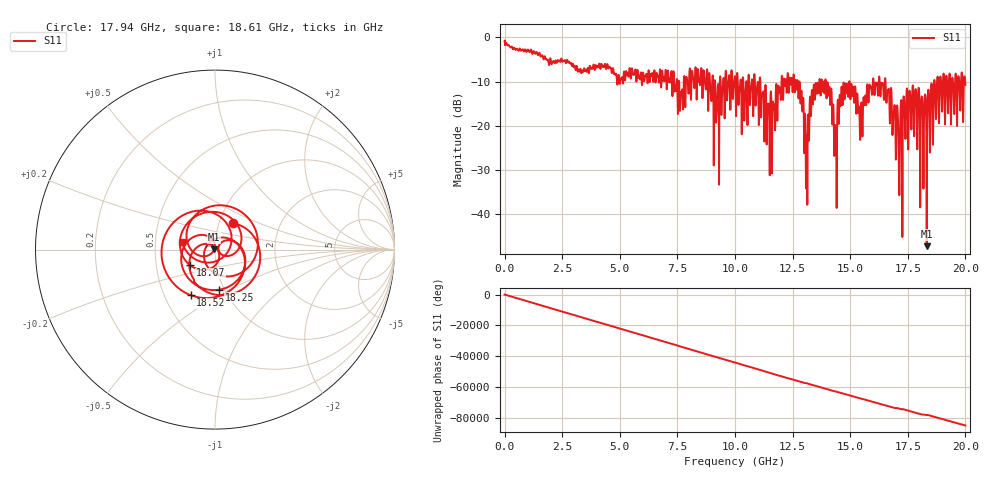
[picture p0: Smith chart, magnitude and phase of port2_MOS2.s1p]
! MS46122B
! 2250307/22442219
! 6/11/2025 1:20:56 PM
! C:\USERS\SPARKY\DOCUMENTS\VNA_DATA\JUNE11_2025\PORT2.S1P
! CHANNEL.1
! TR.MEASUREMENT
! RAW.DATA
# GHZ S RI R 50.0
! FREQ.GHZ  S11RE  S11IM
!; PortSelection: Port_1
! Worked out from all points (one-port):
!   10001 points, 1 MHz to 20 GHz, reference 50 ohm
!   lowest |S11| = -47.2 dB at 18.32 GHz (marker M1), VSWR 1.01, Z = 49.6 + j0.113 ohm
!   |S11| at or under -10 dB: 13.94 GHz to 14.96 GHz (1.019 GHz wide, 7.05 % of centre); 14.97 GHz to 15.98 GHz (1.013 GHz wide, 6.54 % of centre); 16.53 GHz to 18.64 GHz (2.106 GHz wide, 12 % of centre) (the widest 3 of 74)
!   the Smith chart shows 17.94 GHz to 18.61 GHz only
!   S11 on the Smith chart (normalised r, x): 17.94 GHz: 1.17, +0.35; 18.07 GHz: 0.75, -0.14; 18.25 GHz: 0.95, -0.45; 18.52 GHz: 0.68, -0.37; 18.61 GHz: 0.69, +0.06
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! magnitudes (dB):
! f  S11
! 1 MHz  -1.0
! 2.501 GHz  -5.4
! 5.001 GHz  -10.5
! 7.501 GHz  -11.9
! 8.713 GHz  -10.9
! 9.239 GHz  -12.9
! 10 GHz  -8.8
! 10.91 GHz  -13.4
! 11.58 GHz  -15.5
! 12.5 GHz  -12.4
! 12.88 GHz  -12.1
! 13.09 GHz  -28.6
! 13.59 GHz  -10.3
! 14.1 GHz  -11.3
! 14.33 GHz  -21.4
! 14.63 GHz  -11.2
! 15 GHz  -13.3
! 15.45 GHz  -18.3
! 16.45 GHz  -12.4
! 17.18 GHz  -17.7
! 17.5 GHz  -16.9
! 17.94 GHz  -15.0
! 18.07 GHz  -15.7
! 18.25 GHz  -13.0
! 18.32 GHz  -47.2
! 18.52 GHz  -10.8
! 18.61 GHz  -14.5
! 20 GHz  -10.7
